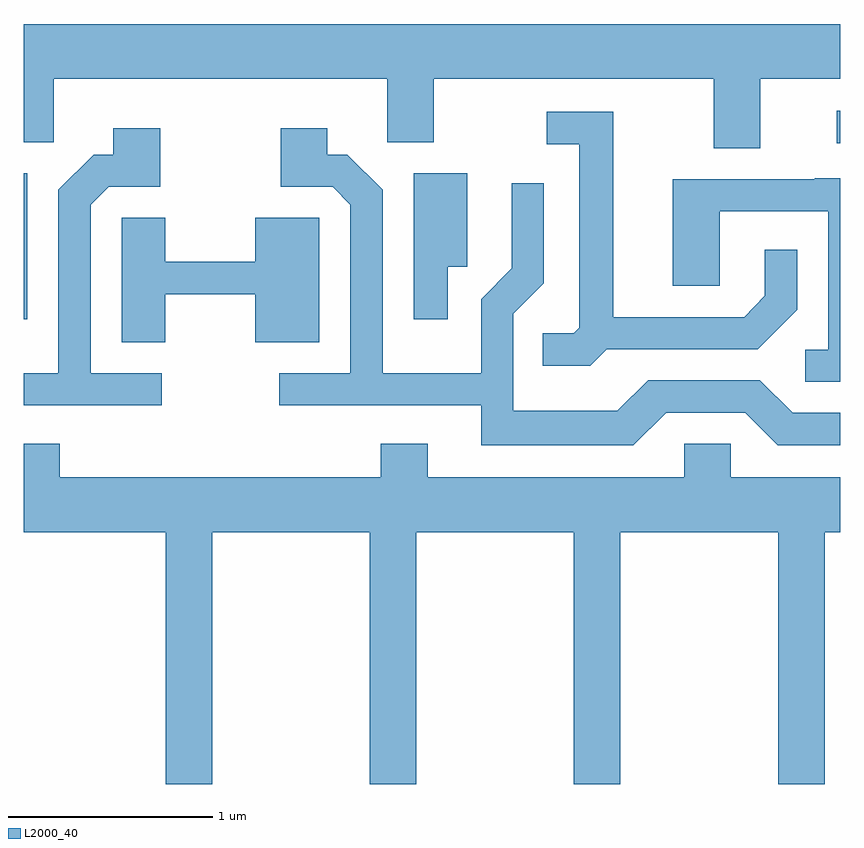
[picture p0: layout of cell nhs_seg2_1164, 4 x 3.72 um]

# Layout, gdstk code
import gdstk
lib = gdstk.Library(unit=1e-6, precision=1e-09)
def R(c, l, rs):  # rectangles x0, y0, x1, y1
    for r in rs: c.add(gdstk.rectangle(r[:2], r[2:], *l))
def P(c, l, *ps):  # polygons
    for p in ps: c.add(gdstk.Polygon(p, *l))
L2000_40 = (2000, 40)

nhs_seg2_1164 = lib.new_cell('nhs_seg2_1164')
R(nhs_seg2_1164, L2000_40, [(219.611,996.078,219.629,996.794), (223.593,996.941,223.611,997.099)])
P(nhs_seg2_1164, L2000_40, [(223.219,997.256),(223.611,997.256),(223.611,997.524),(219.611,997.524),(219.611,996.946),(219.759,996.946),(219.759,997.256),(221.391,997.256),(221.391,996.946),(221.619,996.946),(221.619,997.256),(222.991,997.256),(222.991,996.916),(223.219,996.916)],
  [(222.467,995.931),(223.207,995.931),(223.399,996.124),(223.399,996.418),(223.241,996.418),(223.241,996.192),(223.139,996.089),(222.499,996.089),(222.499,997.094),(222.173,997.094),(222.173,996.936),(222.331,996.936),(222.331,996.037),(222.304,996.009),(222.153,996.009),(222.153,995.851),(222.387,995.851)],
  [(222.757,995.621),(223.144,995.621),(223.304,995.461),(223.611,995.461),(223.611,995.619),(223.377,995.619),(223.217,995.779),(222.669,995.779),(222.519,995.629),(222.009,995.629),(222.009,996.104),(222.159,996.254),(222.159,996.743),(222.001,996.743),(222.001,996.327),(221.851,996.177),(221.851,995.814),(221.369,995.814),(221.369,996.712),(221.197,996.884),(221.099,996.884),(221.099,997.014),(220.871,997.014),(220.871,996.726),(221.124,996.726),(221.211,996.639),(221.211,995.814),(220.863,995.814),(220.863,995.656),(221.851,995.656),(221.851,995.461),(222.597,995.461)],
  [(220.288,995.814),(219.939,995.814),(219.939,996.639),(220.027,996.726),(220.279,996.726),(220.279,997.014),(220.051,997.014),(220.051,996.884),(219.954,996.884),(219.781,996.712),(219.781,995.814),(219.611,995.814),(219.611,995.656),(220.288,995.656)],
  [(221.689,996.336),(221.784,996.336),(221.784,996.794),(221.521,996.794),(221.521,996.078),(221.689,996.078)],
  [(223.611,996.769),(223.485,996.769),(223.485,996.764),(222.791,996.764),(222.791,996.241),(223.019,996.241),(223.019,996.606),(223.551,996.606),(223.551,995.929),(223.438,995.929),(223.438,995.771),(223.611,995.771)],
  [(220.304,996.201),(220.746,996.201),(220.746,995.966),(221.059,995.966),(221.059,996.574),(220.746,996.574),(220.746,996.359),(220.304,996.359),(220.304,996.574),(220.091,996.574),(220.091,995.966),(220.304,995.966)],
  [(221.589,995.469),(221.361,995.469),(221.361,995.304),(219.789,995.304),(219.789,995.469),(219.611,995.469),(219.611,995.036),(220.306,995.036),(220.306,993.802),(220.534,993.802),(220.534,995.036),(221.306,995.036),(221.306,993.802),(221.534,993.802),(221.534,995.036),(222.306,995.036),(222.306,993.802),(222.534,993.802),(222.534,995.036),(223.306,995.036),(223.306,993.802),(223.534,993.802),(223.534,995.036),(223.611,995.036),(223.611,995.304),(223.074,995.304),(223.074,995.469),(222.846,995.469),(222.846,995.304),(221.589,995.304)])

lib.write_gds('nhs_seg2_1164.gds')
